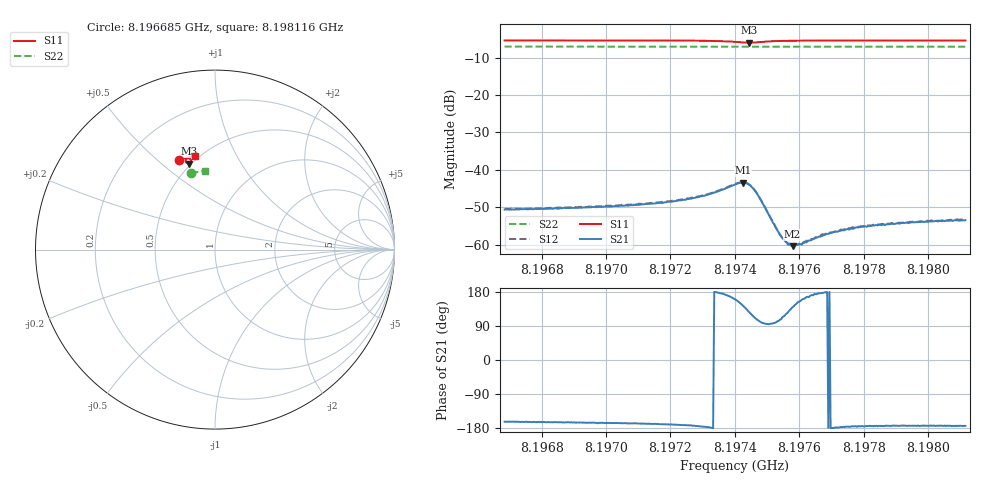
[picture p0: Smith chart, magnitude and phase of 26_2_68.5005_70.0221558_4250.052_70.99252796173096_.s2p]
#  HZ  S  RI  R  50.00
! Rohde & Schwarz Vector Network Analyzer
! Rohde-Schwarz,ZNB20-2Port,1311601062101988,3.16
! Created: UTC 3/20/2024, 4:49:44 PM
! freq[Hz]  re:S11  im:S11  re:S21  im:S21  re:S12  im:S12  re:S22  im:S22
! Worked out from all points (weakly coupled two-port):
!   401 points, 8.196685 GHz to 8.198116 GHz, reference 50 ohm
!   highest |S21| = -43.41 dB at 8.197426 GHz (marker M1); lowest = -60.4 dB at 8.197579 GHz (marker M2)
!   lowest |S11| = -6.0 dB at 8.197443 GHz (marker M3), VSWR 3.00, Z = 24.4 + j31.2 ohm
!   |S11| at or under -10 dB: nowhere
!   |S22| runs from -7.1 to -7.0 dB; largest |S21 - S12| = 0.00038
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8.1966848e9  -0.2015 0.4972  -0.00282 -0.000874  -0.0029 -0.000768  -0.132 0.4245
8.1969246e9  -0.1845 0.5032  -0.00301 -0.000807  -0.00313 -0.00071  -0.1188 0.428
8.1970641e9  -0.1739 0.5066  -0.00328 -0.000754  -0.00335 -0.000642  -0.1112 0.4298
8.1971643e9  -0.1653 0.5087  -0.00357 -0.000669  -0.00366 -0.000564  -0.1057 0.431
8.1972502e9  -0.1568 0.51  -0.004 -0.000532  -0.00413 -0.000404  -0.101 0.4318
8.1973003e9  -0.1506 0.5099  -0.00449 -0.000338  -0.00457 -0.000174  -0.0981 0.4324
8.1973432e9  -0.1436 0.5082  -0.00508 0.00013  -0.0052 0.000357  -0.0955 0.4328
8.1974005e9  -0.1336 0.4969  -0.006 0.00216  -0.00604 0.00247  -0.0924 0.433
8.1974255e9  -0.1352 0.4853  -0.00539 0.00407  -0.00526 0.00439  -0.0911 0.433
8.1974434e9  -0.1433 0.4789  -0.00387 0.00504  -0.00367 0.00533  -0.0905 0.4329
8.1974577e9  -0.1518 0.4789  -0.00235 0.00506  -0.00216 0.00527  -0.0898 0.4333
8.197472e9  -0.1584 0.4828  -0.00119 0.00444  -0.000934 0.00452  -0.0893 0.4335
8.19754e9  -0.1595 0.5035  -0.00038 0.0013  -0.000331 0.00134  -0.0855 0.4348
8.1975615e9  -0.157 0.5068  -0.000582 0.000896  -0.000567 0.000911  -0.0843 0.4349
8.1975722e9  -0.1558 0.508  -0.000686 0.000742  -0.000633 0.00079  -0.0837 0.4351
8.1975794e9  -0.1549 0.5087  -0.000724 0.000626  -0.000733 0.000688  -0.0832 0.4352
8.1976008e9  -0.1524 0.5106  -0.000916 0.00043  -0.000918 0.000462  -0.082 0.4354
8.1976402e9  -0.1481 0.5128  -0.00117 0.000176  -0.00116 0.000218  -0.0798 0.4356
8.197676e9  -0.1447 0.5145  -0.00135 5.7e-05  -0.00137 0.000109  -0.0776 0.4361
8.1977583e9  -0.1373 0.5171  -0.00163 -0.000106  -0.00167 -5.82e-05  -0.0732 0.4367
8.19788e9  -0.1275 0.5199  -0.00188 -0.00021  -0.00191 -0.000147  -0.0663 0.4376
8.1981161e9  -0.1098 0.524  -0.00212 -0.000228  -0.00219 -0.000141  -0.0531 0.439
